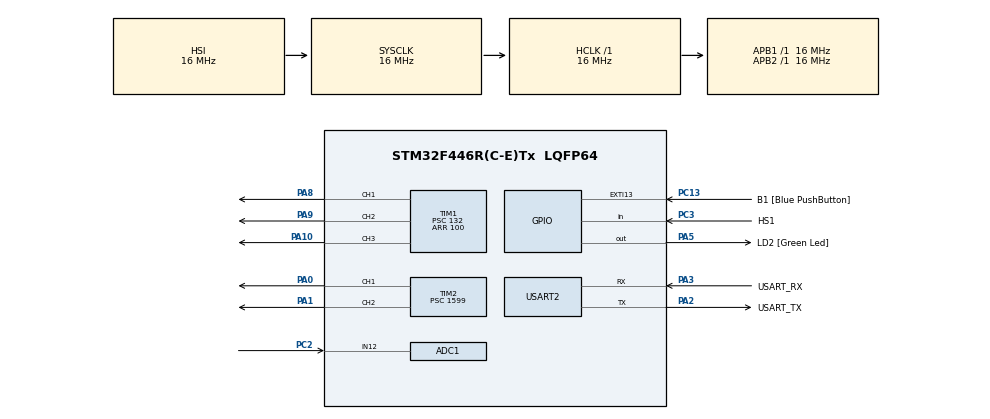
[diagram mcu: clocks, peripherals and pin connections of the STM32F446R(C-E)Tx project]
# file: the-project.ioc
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ADC1.Channel-6\#ChannelRegularConversion=ADC_CHANNEL_12
ADC1.ClockPrescaler=ADC_CLOCK_SYNC_PCLK_DIV4
ADC1.ContinuousConvMode=ENABLE
ADC1.EOCSelection=ADC_EOC_SEQ_CONV
ADC1.NbrOfConversionFlag=1
ADC1.Rank-6\#ChannelRegularConversion=1
ADC1.SamplingTime-6\#ChannelRegularConversion=ADC_SAMPLETIME_3CYCLES
ADC1.master=1
Mcu.Family=STM32F4
Mcu.Name=STM32F446R(C-E)Tx
Mcu.Package=LQFP64
NVIC.ADC_IRQn=true\:0\:0\:false\:false\:true\:true\:true\:true
NVIC.EXTI15_10_IRQn=true\:0\:0\:false\:false\:true\:true\:true\:true
NVIC.PriorityGroup=NVIC_PRIORITYGROUP_0
NVIC.TIM1_BRK_TIM9_IRQn=true\:0\:0\:false\:false\:true\:true\:true\:true
NVIC.TIM1_CC_IRQn=true\:0\:0\:false\:false\:true\:true\:true\:true
NVIC.TIM1_TRG_COM_TIM11_IRQn=true\:0\:0\:false\:false\:true\:true\:true\:true
NVIC.TIM1_UP_TIM10_IRQn=true\:0\:0\:false\:false\:true\:true\:true\:true
NVIC.TIM2_IRQn=true\:0\:0\:false\:false\:true\:true\:true\:true
PA0-WKUP.Signal=S_TIM2_CH1_ETR
PA1.Signal=S_TIM2_CH2
PA10.Signal=S_TIM1_CH3
PA13.GPIO_Label=TMS
PA13.Mode=Serial_Wire
PA13.Signal=SYS_JTMS-SWDIO
PA14.GPIO_Label=TCK
PA14.Mode=Serial_Wire
PA14.Signal=SYS_JTCK-SWCLK
PA2.GPIO_Label=USART_TX
PA2.Mode=Asynchronous
PA2.Signal=USART2_TX
PA3.GPIO_Label=USART_RX
PA3.Mode=Asynchronous
PA3.Signal=USART2_RX
PA5.GPIO_Label=LD2 [Green Led]
PA5.Signal=GPIO_Output
PA8.Signal=S_TIM1_CH1
PA9.Signal=S_TIM1_CH2
PB3.GPIO_Label=SWO
PB3.Signal=SYS_JTDO-SWO
PC13.GPIO_Label=B1 [Blue PushButton]
PC13.GPIO_ModeDefaultEXTI=GPIO_MODE_IT_FALLING
PC13.Signal=GPXTI13
PC14-OSC32_IN.Mode=LSE-External-Oscillator
PC14-OSC32_IN.Signal=RCC_OSC32_IN
PC15-OSC32_OUT.Mode=LSE-External-Oscillator
PC15-OSC32_OUT.Signal=RCC_OSC32_OUT
PC2.Signal=ADCx_IN12
PC3.GPIO_Label=HS1
PC3.GPIO_PuPd=GPIO_PULLDOWN
PC3.Signal=GPIO_Input
PH0-OSC_IN.Mode=HSE-External-Oscillator
PH0-OSC_IN.Signal=RCC_OSC_IN
PH1-OSC_OUT.Mode=HSE-External-Oscillator
PH1-OSC_OUT.Signal=RCC_OSC_OUT
ProjectManager.HeapSize=0x200
ProjectManager.StackSize=0x400
ProjectManager.TargetToolchain=STM32CubeIDE
RCC.48MHZClocksFreq_Value=84000000
RCC.AHBFreq_Value=16000000
RCC.APB1Freq_Value=16000000
RCC.APB1TimFreq_Value=16000000
RCC.APB2Freq_Value=16000000
RCC.APB2TimFreq_Value=16000000
RCC.CortexFreq_Value=16000000
RCC.FLatency-AdvancedSettings=FLASH_LATENCY_0
RCC.HCLKFreq_Value=16000000
RCC.HSE_VALUE=8000000
RCC.HSI_VALUE=16000000
RCC.PLLN=336
RCC.PLLP=RCC_PLLP_DIV4
RCC.SYSCLKFreq_VALUE=16000000
RCC.USBFreq_Value=168000000
RCC.VCOOutputFreq_Value=336000000
SH.ADCx_IN12.0=ADC1_IN12,IN12
SH.S_TIM1_CH1.0=TIM1_CH1,PWM Generation1 CH1
SH.S_TIM1_CH2.0=TIM1_CH2,PWM Generation2 CH2
SH.S_TIM1_CH3.0=TIM1_CH3,PWM Generation3 CH3
SH.S_TIM2_CH1_ETR.0=TIM2_CH1,PWM Generation1 CH1
SH.S_TIM2_CH2.0=TIM2_CH2,PWM Generation2 CH2
TIM1.Channel-PWM\ Generation1\ CH1=TIM_CHANNEL_1
TIM1.Channel-PWM\ Generation2\ CH2=TIM_CHANNEL_2
TIM1.Channel-PWM\ Generation3\ CH3=TIM_CHANNEL_3
TIM1.Period=100
TIM1.Prescaler=132
TIM2.Channel-PWM\ Generation1\ CH1=TIM_CHANNEL_1
TIM2.Channel-PWM\ Generation2\ CH2=TIM_CHANNEL_2
TIM2.Period=100
TIM2.Prescaler=1599
USART2.VirtualMode=VM_ASYNC
VP_TIM1_VS_ClockSourceINT.Mode=Internal
VP_TIM2_VS_ClockSourceINT.Mode=Internal
board=NUCLEO-F446RE

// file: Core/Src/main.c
/* USER CODE BEGIN Header */
/**
 ******************************************************************************
 * @file           : main.c
 * @brief          : Main program body
 ******************************************************************************
 * @attention
 *
 * Copyright (c) 2024 STMicroelectronics.
 * All rights reserved.
 *
 * This software is licensed under terms that can be found in the LICENSE file
 * in the root directory of this software component.
 * If no LICENSE file comes with this software, it is provided AS-IS.
 *
 ******************************************************************************
 */
/* USER CODE END Header */
#include "main.h"

ADC_HandleTypeDef hadc1;

TIM_HandleTypeDef htim1;
TIM_HandleTypeDef htim2;

UART_HandleTypeDef huart2;

void SystemClock_Config(void);
static void MX_GPIO_Init(void);
static void MX_USART2_UART_Init(void);
static void MX_ADC1_Init(void);
static void MX_TIM1_Init(void);
static void MX_TIM2_Init(void);

/* USER CODE BEGIN 0 */
uint16_t humidityRaw, tempRaw;
uint16_t buf[3];
float humidity, temp;
float PWMA, PWMB;
int RGBstate = 0;
int r, g, b;
int duty = 60;
/* USER CODE END 0 */

int main(void)
{

  /* MCU Configuration--------------------------------------------------------*/

  /* Reset of all peripherals, Initializes the Flash interface and the Systick. */
  HAL_Init();

  /* Configure the system clock */
  SystemClock_Config();

  /* Initialize all configured peripherals */
  MX_GPIO_Init();
  MX_USART2_UART_Init();
  MX_ADC1_Init();
  MX_TIM1_Init();
  MX_TIM2_Init();
  /* USER CODE BEGIN 2 */
	HAL_ADC_Start(&hadc1);

	HAL_TIM_PWM_Start(&htim1, TIM_CHANNEL_1);
	HAL_TIM_PWM_Start(&htim1, TIM_CHANNEL_2);
	HAL_TIM_PWM_Start(&htim1, TIM_CHANNEL_3);

	HAL_TIM_PWM_Start(&htim2, TIM_CHANNEL_1);
	HAL_TIM_PWM_Start(&htim2, TIM_CHANNEL_2);

	HAL_TIM_Base_Start_IT(&htim1);
	HAL_TIM_Base_Start_IT(&htim2);
  /* USER CODE END 2 */

  /* Infinite loop */
  /* USER CODE BEGIN WHILE */
	while (1) {
		HAL_ADC_PollForConversion(&hadc1, HAL_MAX_DELAY);
		humidityRaw = HAL_GPIO_ReadPin(HS1_GPIO_Port, HS1_Pin);
		tempRaw = HAL_ADC_GetValue(&hadc1);

		for (int i = 1; i < 3; i++) {
			buf[i - 1] = buf[i];
		}
		buf[2] = tempRaw;

		temp = (float) (buf[0] + buf[1] + buf[2]) / 3 * 500 / 4096 - 13;
    /* USER CODE END WHILE */

	}
}

void SystemClock_Config(void)
{
  RCC_OscInitTypeDef RCC_OscInitStruct = {0};
  RCC_ClkInitTypeDef RCC_ClkInitStruct = {0};

  /** Configure the main internal regulator output voltage
  */
  __HAL_RCC_PWR_CLK_ENABLE();
  __HAL_PWR_VOLTAGESCALING_CONFIG(PWR_REGULATOR_VOLTAGE_SCALE3);

  /** Initializes the RCC Oscillators according to the specified parameters
  * in the RCC_OscInitTypeDef structure.
  */
  RCC_OscInitStruct.OscillatorType = RCC_OSCILLATORTYPE_HSI;
  RCC_OscInitStruct.HSIState = RCC_HSI_ON;
  RCC_OscInitStruct.HSICalibrationValue = RCC_HSICALIBRATION_DEFAULT;
  RCC_OscInitStruct.PLL.PLLState = RCC_PLL_NONE;
  if (HAL_RCC_OscConfig(&RCC_OscInitStruct) != HAL_OK)
  {
    Error_Handler();
  }

  /** Initializes the CPU, AHB and APB buses clocks
  */
  RCC_ClkInitStruct.ClockType = RCC_CLOCKTYPE_HCLK|RCC_CLOCKTYPE_SYSCLK
                              |RCC_CLOCKTYPE_PCLK1|RCC_CLOCKTYPE_PCLK2;
  RCC_ClkInitStruct.SYSCLKSource = RCC_SYSCLKSOURCE_HSI;
  RCC_ClkInitStruct.AHBCLKDivider = RCC_SYSCLK_DIV1;
  RCC_ClkInitStruct.APB1CLKDivider = RCC_HCLK_DIV1;
  RCC_ClkInitStruct.APB2CLKDivider = RCC_HCLK_DIV1;

  if (HAL_RCC_ClockConfig(&RCC_ClkInitStruct, FLASH_LATENCY_0) != HAL_OK)
  {
    Error_Handler();
  }
}

static void MX_ADC1_Init(void)
{

  ADC_ChannelConfTypeDef sConfig = {0};

  /** Configure the global features of the ADC (Clock, Resolution, Data Alignment and number of conversion)
  */
  hadc1.Instance = ADC1;
  hadc1.Init.ClockPrescaler = ADC_CLOCK_SYNC_PCLK_DIV4;
  hadc1.Init.Resolution = ADC_RESOLUTION_12B;
  hadc1.Init.ScanConvMode = DISABLE;
  hadc1.Init.ContinuousConvMode = ENABLE;
  hadc1.Init.DiscontinuousConvMode = DISABLE;
  hadc1.Init.ExternalTrigConvEdge = ADC_EXTERNALTRIGCONVEDGE_NONE;
  hadc1.Init.ExternalTrigConv = ADC_SOFTWARE_START;
  hadc1.Init.DataAlign = ADC_DATAALIGN_RIGHT;
  hadc1.Init.NbrOfConversion = 1;
  hadc1.Init.DMAContinuousRequests = DISABLE;
  hadc1.Init.EOCSelection = ADC_EOC_SEQ_CONV;
  if (HAL_ADC_Init(&hadc1) != HAL_OK)
  {
    Error_Handler();
  }

  /** Configure for the selected ADC regular channel its corresponding rank in the sequencer and its sample time.
  */
  sConfig.Channel = ADC_CHANNEL_12;
  sConfig.Rank = 1;
  sConfig.SamplingTime = ADC_SAMPLETIME_3CYCLES;
  if (HAL_ADC_ConfigChannel(&hadc1, &sConfig) != HAL_OK)
  {
    Error_Handler();
  }

}

static void MX_TIM1_Init(void)
{

  TIM_ClockConfigTypeDef sClockSourceConfig = {0};
  TIM_MasterConfigTypeDef sMasterConfig = {0};
  TIM_OC_InitTypeDef sConfigOC = {0};
  TIM_BreakDeadTimeConfigTypeDef sBreakDeadTimeConfig = {0};

  htim1.Instance = TIM1;
  htim1.Init.Prescaler = 132;
  htim1.Init.CounterMode = TIM_COUNTERMODE_UP;
  htim1.Init.Period = 100;
  htim1.Init.ClockDivision = TIM_CLOCKDIVISION_DIV1;
  htim1.Init.RepetitionCounter = 0;
  htim1.Init.AutoReloadPreload = TIM_AUTORELOAD_PRELOAD_DISABLE;
  if (HAL_TIM_Base_Init(&htim1) != HAL_OK)
  {
    Error_Handler();
  }
  sClockSourceConfig.ClockSource = TIM_CLOCKSOURCE_INTERNAL;
  if (HAL_TIM_ConfigClockSource(&htim1, &sClockSourceConfig) != HAL_OK)
  {
    Error_Handler();
  }
  if (HAL_TIM_PWM_Init(&htim1) != HAL_OK)
  {
    Error_Handler();
  }
  sMasterConfig.MasterOutputTrigger = TIM_TRGO_RESET;
  sMasterConfig.MasterSlaveMode = TIM_MASTERSLAVEMODE_DISABLE;
  if (HAL_TIMEx_MasterConfigSynchronization(&htim1, &sMasterConfig) != HAL_OK)
  {
    Error_Handler();
  }
  sConfigOC.OCMode = TIM_OCMODE_PWM1;
  sConfigOC.Pulse = 0;
  sConfigOC.OCPolarity = TIM_OCPOLARITY_HIGH;
  sConfigOC.OCNPolarity = TIM_OCNPOLARITY_HIGH;
  sConfigOC.OCFastMode = TIM_OCFAST_DISABLE;
  sConfigOC.OCIdleState = TIM_OCIDLESTATE_RESET;
  sConfigOC.OCNIdleState = TIM_OCNIDLESTATE_RESET;
  if (HAL_TIM_PWM_ConfigChannel(&htim1, &sConfigOC, TIM_CHANNEL_1) != HAL_OK)
  {
    Error_Handler();
  }
  if (HAL_TIM_PWM_ConfigChannel(&htim1, &sConfigOC, TIM_CHANNEL_2) != HAL_OK)
  {
    Error_Handler();
  }
  if (HAL_TIM_PWM_ConfigChannel(&htim1, &sConfigOC, TIM_CHANNEL_3) != HAL_OK)
  {
    Error_Handler();
  }
  sBreakDeadTimeConfig.OffStateRunMode = TIM_OSSR_DISABLE;
  sBreakDeadTimeConfig.OffStateIDLEMode = TIM_OSSI_DISABLE;
  sBreakDeadTimeConfig.LockLevel = TIM_LOCKLEVEL_OFF;
  sBreakDeadTimeConfig.DeadTime = 0;
  sBreakDeadTimeConfig.BreakState = TIM_BREAK_DISABLE;
  sBreakDeadTimeConfig.BreakPolarity = TIM_BREAKPOLARITY_HIGH;
  sBreakDeadTimeConfig.AutomaticOutput = TIM_AUTOMATICOUTPUT_DISABLE;
  if (HAL_TIMEx_ConfigBreakDeadTime(&htim1, &sBreakDeadTimeConfig) != HAL_OK)
  {
    Error_Handler();
  }
  HAL_TIM_MspPostInit(&htim1);

}

static void MX_TIM2_Init(void)
{

  TIM_ClockConfigTypeDef sClockSourceConfig = {0};
  TIM_MasterConfigTypeDef sMasterConfig = {0};
  TIM_OC_InitTypeDef sConfigOC = {0};

  htim2.Instance = TIM2;
  htim2.Init.Prescaler = 1599;
  htim2.Init.CounterMode = TIM_COUNTERMODE_UP;
  htim2.Init.Period = 100;
  htim2.Init.ClockDivision = TIM_CLOCKDIVISION_DIV1;
  htim2.Init.AutoReloadPreload = TIM_AUTORELOAD_PRELOAD_DISABLE;
  if (HAL_TIM_Base_Init(&htim2) != HAL_OK)
  {
    Error_Handler();
  }
  sClockSourceConfig.ClockSource = TIM_CLOCKSOURCE_INTERNAL;
  if (HAL_TIM_ConfigClockSource(&htim2, &sClockSourceConfig) != HAL_OK)
  {
    Error_Handler();
  }
  if (HAL_TIM_PWM_Init(&htim2) != HAL_OK)
  {
    Error_Handler();
  }
  sMasterConfig.MasterOutputTrigger = TIM_TRGO_RESET;
  sMasterConfig.MasterSlaveMode = TIM_MASTERSLAVEMODE_DISABLE;
  if (HAL_TIMEx_MasterConfigSynchronization(&htim2, &sMasterConfig) != HAL_OK)
  {
    Error_Handler();
  }
  sConfigOC.OCMode = TIM_OCMODE_PWM1;
  sConfigOC.Pulse = 0;
  sConfigOC.OCPolarity = TIM_OCPOLARITY_HIGH;
  sConfigOC.OCFastMode = TIM_OCFAST_DISABLE;
  if (HAL_TIM_PWM_ConfigChannel(&htim2, &sConfigOC, TIM_CHANNEL_1) != HAL_OK)
  {
    Error_Handler();
  }
  if (HAL_TIM_PWM_ConfigChannel(&htim2, &sConfigOC, TIM_CHANNEL_2) != HAL_OK)
  {
    Error_Handler();
  }
  HAL_TIM_MspPostInit(&htim2);

}

static void MX_USART2_UART_Init(void)
{

  huart2.Instance = USART2;
  huart2.Init.BaudRate = 115200;
  huart2.Init.WordLength = UART_WORDLENGTH_8B;
  huart2.Init.StopBits = UART_STOPBITS_1;
  huart2.Init.Parity = UART_PARITY_NONE;
  huart2.Init.Mode = UART_MODE_TX_RX;
  huart2.Init.HwFlowCtl = UART_HWCONTROL_NONE;
  huart2.Init.OverSampling = UART_OVERSAMPLING_16;
  if (HAL_UART_Init(&huart2) != HAL_OK)
  {
    Error_Handler();
  }

}

static void MX_GPIO_Init(void)
{
  GPIO_InitTypeDef GPIO_InitStruct = {0};

  /* GPIO Ports Clock Enable */
  __HAL_RCC_GPIOC_CLK_ENABLE();
  __HAL_RCC_GPIOH_CLK_ENABLE();
  __HAL_RCC_GPIOA_CLK_ENABLE();
  __HAL_RCC_GPIOB_CLK_ENABLE();

  /*Configure GPIO pin Output Level */
  HAL_GPIO_WritePin(LD2_GPIO_Port, LD2_Pin, GPIO_PIN_RESET);

  /*Configure GPIO pin : B1_Pin */
  GPIO_InitStruct.Pin = B1_Pin;
  GPIO_InitStruct.Mode = GPIO_MODE_IT_FALLING;
  GPIO_InitStruct.Pull = GPIO_NOPULL;
  HAL_GPIO_Init(B1_GPIO_Port, &GPIO_InitStruct);

  /*Configure GPIO pin : HS1_Pin */
  GPIO_InitStruct.Pin = HS1_Pin;
  GPIO_InitStruct.Mode = GPIO_MODE_INPUT;
  GPIO_InitStruct.Pull = GPIO_PULLDOWN;
  HAL_GPIO_Init(HS1_GPIO_Port, &GPIO_InitStruct);

  /*Configure GPIO pin : LD2_Pin */
  GPIO_InitStruct.Pin = LD2_Pin;
  GPIO_InitStruct.Mode = GPIO_MODE_OUTPUT_PP;
  GPIO_InitStruct.Pull = GPIO_NOPULL;
  GPIO_InitStruct.Speed = GPIO_SPEED_FREQ_LOW;
  HAL_GPIO_Init(LD2_GPIO_Port, &GPIO_InitStruct);

  /* EXTI interrupt init*/
  HAL_NVIC_SetPriority(EXTI15_10_IRQn, 0, 0);
  HAL_NVIC_EnableIRQ(EXTI15_10_IRQn);

}

/* USER CODE BEGIN 4 */

/**
 * @brief This function handles TIM1 trigger and commutation interrupts and TIM11 global interrupt.
 */

void TIM1_UP_TIM10_IRQHandler(void) {
	__HAL_TIM_CLEAR_IT(&htim1, TIM_IT_UPDATE);
	/* USER CODE BEGIN TIM1_UP_TIM10_IRQn 0 */
	if (temp < 23.) {
		r = 0;
		g = 0;
		b = duty;
	} else if (temp < 25.) {
		r = 0;
		g = duty;
		b = 0;
	} else if (temp < 27.) {
		r = duty;
		g = duty;
		b = 0;
	} else {
		r = duty;
		g = 0;
		b = 0;
	}

	__HAL_TIM_SET_COMPARE(&htim1, TIM_CHANNEL_1, r);
	__HAL_TIM_SET_COMPARE(&htim1, TIM_CHANNEL_2, g);
	__HAL_TIM_SET_COMPARE(&htim1, TIM_CHANNEL_3, b);

	/* USER CODE END TIM1_UP_TIM10_IRQn 0 */
	HAL_TIM_IRQHandler(&htim1);
	/* USER CODE BEGIN TIM1_UP_TIM10_IRQn 1 */

	/* USER CODE END TIM1_UP_TIM10_IRQn 1 */
}

/**
 * @brief This function handles TIM2 global interrupt.
 */
void TIM2_IRQHandler(void) {
	/* USER CODE BEGIN TIM2_IRQn 0 */
	if (__HAL_TIM_GET_FLAG(&htim2, TIM_FLAG_UPDATE) != RESET) {
		if (__HAL_TIM_GET_IT_SOURCE(&htim2, TIM_IT_UPDATE) != RESET) {
			__HAL_TIM_CLEAR_IT(&htim2, TIM_IT_UPDATE);

			if(humidityRaw == 1){
				PWMA = htim2.Init.Period;
			} else {
				PWMA = 0;
			}
			PWMB = 0;

			__HAL_TIM_SET_COMPARE(&htim2, TIM_CHANNEL_1, PWMB);
			__HAL_TIM_SET_COMPARE(&htim2, TIM_CHANNEL_2, PWMA);
		}
	}
	/* USER CODE END TIM2_IRQn 0 */
	HAL_TIM_IRQHandler(&htim2);
	/* USER CODE BEGIN TIM2_IRQn 1 */

	/* USER CODE END TIM2_IRQn 1 */
}

/* USER CODE END 4 */

void Error_Handler(void)
{
	__disable_irq();
	while (1) {
	}
}
